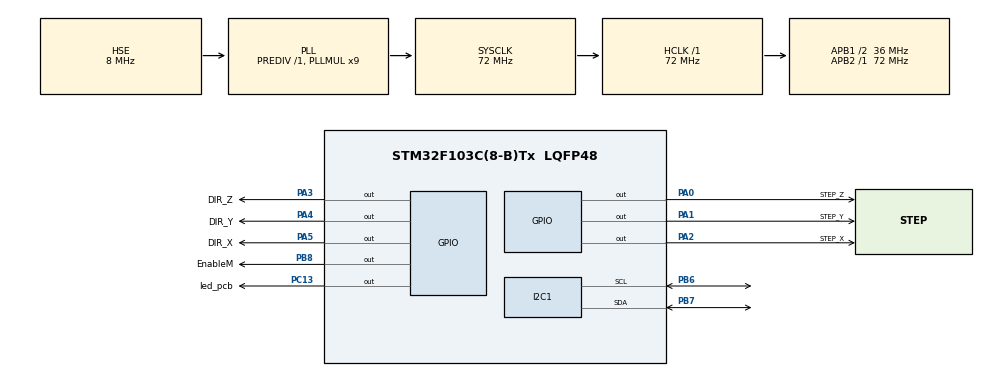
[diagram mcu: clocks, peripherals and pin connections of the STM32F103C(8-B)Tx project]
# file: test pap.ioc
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Mcu.Family=STM32F1
Mcu.Name=STM32F103C(8-B)Tx
Mcu.Package=LQFP48
NVIC.PriorityGroup=NVIC_PRIORITYGROUP_4
NVIC.TIM2_IRQn=true\:0\:0\:false\:false\:true\:true\:true\:true
PA0-WKUP.GPIO_Label=STEP_Z
PA0-WKUP.Signal=GPIO_Output
PA1.GPIO_Label=STEP_Y
PA1.Signal=GPIO_Output
PA13.Mode=Serial_Wire
PA13.Signal=SYS_JTMS-SWDIO
PA14.Mode=Serial_Wire
PA14.Signal=SYS_JTCK-SWCLK
PA2.GPIO_Label=STEP_X
PA2.Signal=GPIO_Output
PA3.GPIO_Label=DIR_Z
PA3.Signal=GPIO_Output
PA4.GPIO_Label=DIR_Y
PA4.Signal=GPIO_Output
PA5.GPIO_Label=DIR_X
PA5.Signal=GPIO_Output
PB6.Mode=I2C
PB6.Signal=I2C1_SCL
PB7.Mode=I2C
PB7.Signal=I2C1_SDA
PB8.GPIO_Label=EnableM
PB8.Signal=GPIO_Output
PC13-TAMPER-RTC.GPIO_Label=led_pcb
PC13-TAMPER-RTC.Signal=GPIO_Output
PC14-OSC32_IN.Mode=LSE-External-Oscillator
PC14-OSC32_IN.Signal=RCC_OSC32_IN
PC15-OSC32_OUT.Mode=LSE-External-Oscillator
PC15-OSC32_OUT.Signal=RCC_OSC32_OUT
PD0-OSC_IN.Mode=HSE-External-Oscillator
PD0-OSC_IN.Signal=RCC_OSC_IN
PD1-OSC_OUT.Mode=HSE-External-Oscillator
PD1-OSC_OUT.Signal=RCC_OSC_OUT
ProjectManager.HeapSize=0x200
ProjectManager.StackSize=0x400
ProjectManager.TargetToolchain=STM32CubeIDE
RCC.AHBFreq_Value=72000000
RCC.APB1CLKDivider=RCC_HCLK_DIV2
RCC.APB1Freq_Value=36000000
RCC.APB1TimFreq_Value=72000000
RCC.APB2Freq_Value=72000000
RCC.APB2TimFreq_Value=72000000
RCC.HCLKFreq_Value=72000000
RCC.PLLMUL=RCC_PLL_MUL9
RCC.PLLSourceVirtual=RCC_PLLSOURCE_HSE
RCC.SYSCLKFreq_VALUE=72000000
RCC.SYSCLKSource=RCC_SYSCLKSOURCE_PLLCLK
RCC.USBFreq_Value=72000000
TIM2.Period=1000
TIM2.Prescaler=71
VP_TIM1_VS_ClockSourceINT.Mode=Internal
VP_TIM2_VS_ClockSourceINT.Mode=Internal
board=custom

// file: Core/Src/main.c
/* USER CODE BEGIN Header */
/**
  ******************************************************************************
  * @file           : main.c
  * @brief          : Main program body
  ******************************************************************************
  * @attention
  *
  * Copyright (c) 2023 STMicroelectronics.
  * All rights reserved.
  *
  * This software is licensed under terms that can be found in the LICENSE file
  * in the root directory of this software component.
  * If no LICENSE file comes with this software, it is provided AS-IS.
  *
  ******************************************************************************
  */
/* USER CODE END Header */
#include "main.h"

/* USER CODE BEGIN PD */

// Definición de las frecuencias de temporización (en Hertz)
#define TIMER_FREQUENCY 1000 // Por ejemplo, 1000 Hz (1 ms de intervalo)

/* USER CODE END PD */

I2C_HandleTypeDef hi2c1;

TIM_HandleTypeDef htim1;
TIM_HandleTypeDef htim2;

/* USER CODE BEGIN PV */
//int microStepping = 1;
int stepInterval = 4000 / (50*1);
int contador = 0;
int direction = 0;
/* USER CODE END PV */

void SystemClock_Config(void);
static void MX_GPIO_Init(void);
static void MX_I2C1_Init(void);
static void MX_TIM1_Init(void);
static void MX_TIM2_Init(void);

int main(void)
{

  /* MCU Configuration--------------------------------------------------------*/

  /* Reset of all peripherals, Initializes the Flash interface and the Systick. */
  HAL_Init();

  /* Configure the system clock */
  SystemClock_Config();

  /* Initialize all configured peripherals */
  MX_GPIO_Init();
  MX_I2C1_Init();
  MX_TIM1_Init();
  MX_TIM2_Init();
  int cont = 0;

  /* Infinite loop */
  /* USER CODE BEGIN WHILE */
  while (1)
  {
	  if (contador < 10){
		  contador++;
	  } else {
		  contador = 0;
		  HAL_GPIO_TogglePin(DIR_X_GPIO_Port, DIR_X_Pin);
		  HAL_GPIO_TogglePin(DIR_Y_GPIO_Port, DIR_Y_Pin);
		  HAL_GPIO_TogglePin(DIR_Z_GPIO_Port, DIR_Z_Pin);
	  }
	  HAL_Delay(100);
	  HAL_GPIO_TogglePin(STEP_X_GPIO_Port, STEP_X_Pin);
	  HAL_GPIO_TogglePin(STEP_Y_GPIO_Port, STEP_Y_Pin);
	  HAL_GPIO_TogglePin(STEP_Z_GPIO_Port, STEP_Z_Pin);
	  HAL_GPIO_TogglePin(led_pcb_GPIO_Port, led_pcb_Pin);

    /* USER CODE END WHILE */

  }
}

void SystemClock_Config(void)
{
  RCC_OscInitTypeDef RCC_OscInitStruct = {0};
  RCC_ClkInitTypeDef RCC_ClkInitStruct = {0};

  /** Initializes the RCC Oscillators according to the specified parameters
  * in the RCC_OscInitTypeDef structure.
  */
  RCC_OscInitStruct.OscillatorType = RCC_OSCILLATORTYPE_HSE;
  RCC_OscInitStruct.HSEState = RCC_HSE_ON;
  RCC_OscInitStruct.HSEPredivValue = RCC_HSE_PREDIV_DIV1;
  RCC_OscInitStruct.HSIState = RCC_HSI_ON;
  RCC_OscInitStruct.PLL.PLLState = RCC_PLL_ON;
  RCC_OscInitStruct.PLL.PLLSource = RCC_PLLSOURCE_HSE;
  RCC_OscInitStruct.PLL.PLLMUL = RCC_PLL_MUL9;
  if (HAL_RCC_OscConfig(&RCC_OscInitStruct) != HAL_OK)
  {
    Error_Handler();
  }

  /** Initializes the CPU, AHB and APB buses clocks
  */
  RCC_ClkInitStruct.ClockType = RCC_CLOCKTYPE_HCLK|RCC_CLOCKTYPE_SYSCLK
                              |RCC_CLOCKTYPE_PCLK1|RCC_CLOCKTYPE_PCLK2;
  RCC_ClkInitStruct.SYSCLKSource = RCC_SYSCLKSOURCE_PLLCLK;
  RCC_ClkInitStruct.AHBCLKDivider = RCC_SYSCLK_DIV1;
  RCC_ClkInitStruct.APB1CLKDivider = RCC_HCLK_DIV2;
  RCC_ClkInitStruct.APB2CLKDivider = RCC_HCLK_DIV1;

  if (HAL_RCC_ClockConfig(&RCC_ClkInitStruct, FLASH_LATENCY_2) != HAL_OK)
  {
    Error_Handler();
  }
}

static void MX_I2C1_Init(void)
{

  hi2c1.Instance = I2C1;
  hi2c1.Init.ClockSpeed = 100000;
  hi2c1.Init.DutyCycle = I2C_DUTYCYCLE_2;
  hi2c1.Init.OwnAddress1 = 0;
  hi2c1.Init.AddressingMode = I2C_ADDRESSINGMODE_7BIT;
  hi2c1.Init.DualAddressMode = I2C_DUALADDRESS_DISABLE;
  hi2c1.Init.OwnAddress2 = 0;
  hi2c1.Init.GeneralCallMode = I2C_GENERALCALL_DISABLE;
  hi2c1.Init.NoStretchMode = I2C_NOSTRETCH_DISABLE;
  if (HAL_I2C_Init(&hi2c1) != HAL_OK)
  {
    Error_Handler();
  }

}

static void MX_TIM1_Init(void)
{

  TIM_ClockConfigTypeDef sClockSourceConfig = {0};
  TIM_MasterConfigTypeDef sMasterConfig = {0};

  htim1.Instance = TIM1;
  htim1.Init.Prescaler = 0;
  htim1.Init.CounterMode = TIM_COUNTERMODE_UP;
  htim1.Init.Period = 65535;
  htim1.Init.ClockDivision = TIM_CLOCKDIVISION_DIV1;
  htim1.Init.RepetitionCounter = 0;
  htim1.Init.AutoReloadPreload = TIM_AUTORELOAD_PRELOAD_DISABLE;
  if (HAL_TIM_Base_Init(&htim1) != HAL_OK)
  {
    Error_Handler();
  }
  sClockSourceConfig.ClockSource = TIM_CLOCKSOURCE_INTERNAL;
  if (HAL_TIM_ConfigClockSource(&htim1, &sClockSourceConfig) != HAL_OK)
  {
    Error_Handler();
  }
  sMasterConfig.MasterOutputTrigger = TIM_TRGO_RESET;
  sMasterConfig.MasterSlaveMode = TIM_MASTERSLAVEMODE_DISABLE;
  if (HAL_TIMEx_MasterConfigSynchronization(&htim1, &sMasterConfig) != HAL_OK)
  {
    Error_Handler();
  }

}

static void MX_TIM2_Init(void)
{

  TIM_ClockConfigTypeDef sClockSourceConfig = {0};
  TIM_MasterConfigTypeDef sMasterConfig = {0};

  htim2.Instance = TIM2;
  htim2.Init.Prescaler = 71;
  htim2.Init.CounterMode = TIM_COUNTERMODE_UP;
  htim2.Init.Period = 1000;
  htim2.Init.ClockDivision = TIM_CLOCKDIVISION_DIV1;
  htim2.Init.AutoReloadPreload = TIM_AUTORELOAD_PRELOAD_DISABLE;
  if (HAL_TIM_Base_Init(&htim2) != HAL_OK)
  {
    Error_Handler();
  }
  sClockSourceConfig.ClockSource = TIM_CLOCKSOURCE_INTERNAL;
  if (HAL_TIM_ConfigClockSource(&htim2, &sClockSourceConfig) != HAL_OK)
  {
    Error_Handler();
  }
  sMasterConfig.MasterOutputTrigger = TIM_TRGO_RESET;
  sMasterConfig.MasterSlaveMode = TIM_MASTERSLAVEMODE_DISABLE;
  if (HAL_TIMEx_MasterConfigSynchronization(&htim2, &sMasterConfig) != HAL_OK)
  {
    Error_Handler();
  }

}

static void MX_GPIO_Init(void)
{
  GPIO_InitTypeDef GPIO_InitStruct = {0};

  /* GPIO Ports Clock Enable */
  __HAL_RCC_GPIOC_CLK_ENABLE();
  __HAL_RCC_GPIOD_CLK_ENABLE();
  __HAL_RCC_GPIOA_CLK_ENABLE();
  __HAL_RCC_GPIOB_CLK_ENABLE();

  /*Configure GPIO pin Output Level */
  HAL_GPIO_WritePin(led_pcb_GPIO_Port, led_pcb_Pin, GPIO_PIN_RESET);

  /*Configure GPIO pin Output Level */
  HAL_GPIO_WritePin(GPIOA, STEP_Z_Pin|STEP_Y_Pin|STEP_X_Pin|DIR_Z_Pin
                          |DIR_Y_Pin|DIR_X_Pin, GPIO_PIN_RESET);

  /*Configure GPIO pin Output Level */
  HAL_GPIO_WritePin(EnableM_GPIO_Port, EnableM_Pin, GPIO_PIN_RESET);

  /*Configure GPIO pin : led_pcb_Pin */
  GPIO_InitStruct.Pin = led_pcb_Pin;
  GPIO_InitStruct.Mode = GPIO_MODE_OUTPUT_PP;
  GPIO_InitStruct.Pull = GPIO_NOPULL;
  GPIO_InitStruct.Speed = GPIO_SPEED_FREQ_LOW;
  HAL_GPIO_Init(led_pcb_GPIO_Port, &GPIO_InitStruct);

  /*Configure GPIO pins : STEP_Z_Pin STEP_Y_Pin STEP_X_Pin DIR_Z_Pin
                           DIR_Y_Pin DIR_X_Pin */
  GPIO_InitStruct.Pin = STEP_Z_Pin|STEP_Y_Pin|STEP_X_Pin|DIR_Z_Pin
                          |DIR_Y_Pin|DIR_X_Pin;
  GPIO_InitStruct.Mode = GPIO_MODE_OUTPUT_PP;
  GPIO_InitStruct.Pull = GPIO_NOPULL;
  GPIO_InitStruct.Speed = GPIO_SPEED_FREQ_LOW;
  HAL_GPIO_Init(GPIOA, &GPIO_InitStruct);

  /*Configure GPIO pin : EnableM_Pin */
  GPIO_InitStruct.Pin = EnableM_Pin;
  GPIO_InitStruct.Mode = GPIO_MODE_OUTPUT_PP;
  GPIO_InitStruct.Pull = GPIO_NOPULL;
  GPIO_InitStruct.Speed = GPIO_SPEED_FREQ_LOW;
  HAL_GPIO_Init(EnableM_GPIO_Port, &GPIO_InitStruct);

}

/* USER CODE BEGIN 4 */

void HAL_TIM_PeriodElapsedCallback(TIM_HandleTypeDef *htim) {
    if (htim->Instance == TIM2) {
	}
}
/* USER CODE END 4 */

void Error_Handler(void)
{
  __disable_irq();
  while (1)
  {
  }
}
